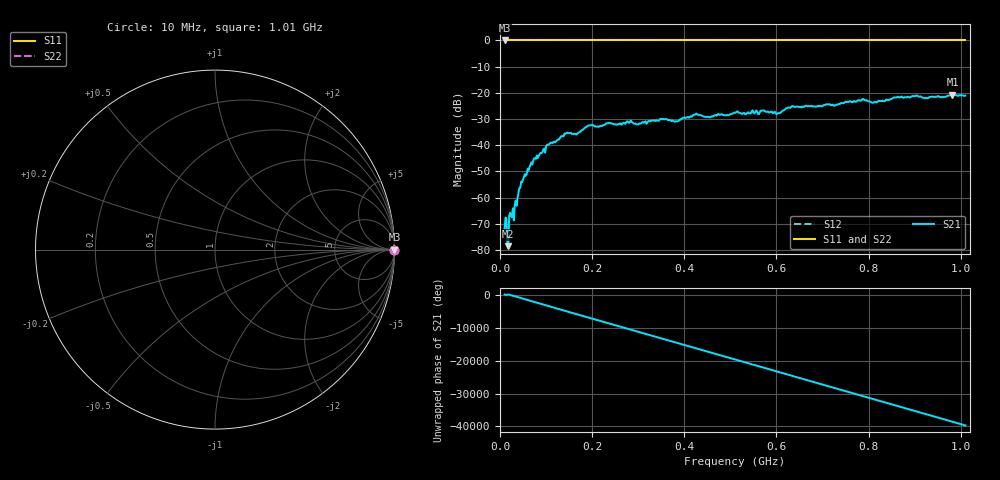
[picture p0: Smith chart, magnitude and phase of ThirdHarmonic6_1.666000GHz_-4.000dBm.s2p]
! 8/16/2025 7:58:01 PM
! C:\ANRITSUVNA\TEMP\TEMP.S2P
! CHANNEL.1
! TR.MEASUREMENT
! RAW.DATA
! RF.CORRECTION.OFF
! AVERAGING.OFF
! IF.BANDWIDTH: 5KHZ
! SWEEPTYPE:  FREQ.SWEEP(Linear)
! Reference Plane Port Info
! PORT:  PORT1  PORT2
! DISTANCE:  0  m  0  m
! TIME:  0  s  0  s
! PHASE.OFFSET:  0  deg.  0  deg.
! LOSS:  0  dB  0  dB
! REF.LOSS:  0  dB  0  dB
! REF.FREQ:  0  Hz  0  Hz
! Power Info
! POWER:  -20  dBm  -20  dBm
! EFF.POWER:  -20  dBm  -20  dBm
! SOURCE.ATTEN:  0  dB  0  dB
! TEST.ATTEN:  0  dB  0  dB
# GHZ S RI R 50.0
! FREQ.GHZ  S11RE  S11IM  S21RE  S21IM  S12RE  S12IM  S22RE  S22IM
!; PortSelection: Port_12
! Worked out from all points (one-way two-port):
!   501 points, 10 MHz to 1.01 GHz, reference 50 ohm
!   highest |S21| = -20.73 dB at 982 MHz (marker M1); lowest = -78.6 dB at 18 MHz (marker M2)
!   lowest |S11| = 0.0 dB at 10 MHz (marker M3)
!   |S11| at or under -10 dB: nowhere
!   |S22| runs from 0.0 to 0.0 dB; largest |S21 - S12| = 1.1
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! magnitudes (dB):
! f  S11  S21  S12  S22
! 10 MHz  0.0  -71.7  0.0  0.0
! 14 MHz  0.0  -68.2  0.0  0.0
! 18 MHz  0.0  -78.6  0.0  0.0
! 20 MHz  0.0  -66.9  0.0  0.0
! 24 MHz  0.0  -67.0  0.0  0.0
! 34 MHz  0.0  -61.1  0.0  0.0
! 50 MHz  0.0  -53.1  0.0  0.0
! 76 MHz  0.0  -44.9  0.0  0.0
! 106 MHz  0.0  -39.6  0.0  0.0
! 144 MHz  0.0  -35.4  0.0  0.0
! 178 MHz  0.0  -34.3  0.0  0.0
! 196 MHz  0.0  -32.4  0.0  0.0
! 344 MHz  0.0  -30.7  0.0  0.0
! 382 MHz  0.0  -30.9  0.0  0.0
! 424 MHz  0.0  -28.3  0.0  0.0
! 510 MHz  0.0  -27.6  0.0  0.0
! 604 MHz  0.0  -27.7  0.0  0.0
! 632 MHz  0.0  -25.4  0.0  0.0
! 678 MHz  0.0  -25.2  0.0  0.0
! 844 MHz  0.0  -22.7  0.0  0.0
! 982 MHz  0.0  -20.7  0.0  0.0
! 1.01 GHz  0.0  -21.1  0.0  0.0
